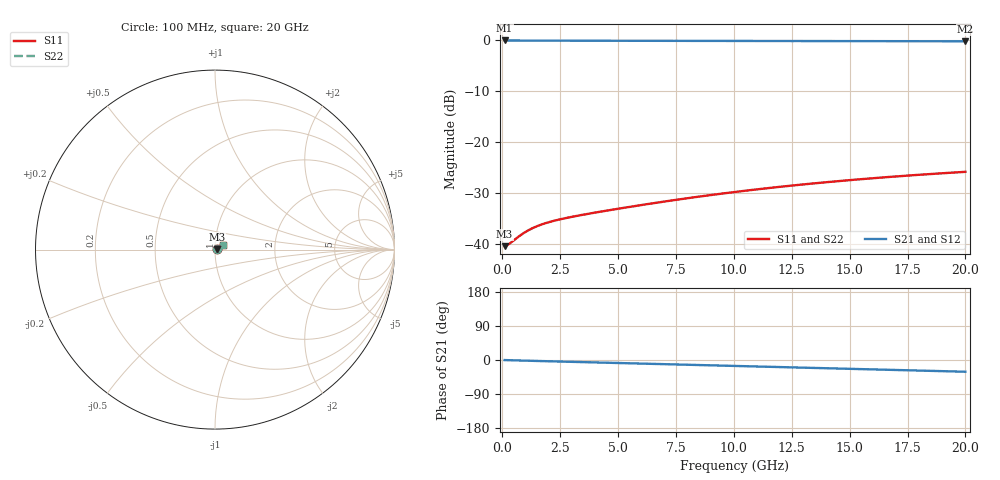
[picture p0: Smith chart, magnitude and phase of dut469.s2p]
! Touchstone file exported from HFSS 2026.1.0
!  File:  C:/ffzhzh/LocalFiles/Ansys_Project_Files/temp_train_TMRDL_469_1783006174_55676.aedt
!  Generated:  11:30:49 PM Jul  2, 2026
!  Design:  TMRDL
!  Project:  temp_train_TMRDL_469_1783006174_55676
! Variables:
!  h_bsmrdl = 2um
!  h_ox = 20um
!  h_rdl = 5um
!  h_sub = 80um
!  h_tmrdl = 2um
!  h_tsv = 80um
!  h_via = 3um
!  l_bsmrdl = 300um
!  l_sub = 959.4um
!  l_tmrdl = 559.4um
!  m_sub = 200um
!  pitch = 12.91um
!  r_tsv = 6um
!  s_tmrdl = 10um
!  w_bsmrdl = 18um
!  w_sub = 500um
!  w_tmrdl = 10.48um
!  x_tsv_center1 = 564.64um
!  x_tsv_center2 = 882.64um
!  x_tsv_center3 = 1452.52um
!  x_tsv_center4 = 1770.52um
!  x_tsv_center5 = 2340.4um
!  x_tsv_center6 = 2658.4um
# GHz S MA R 50.000000
! Terminal data exported
! Port[1] = TM_RDL1_1_T1
! Port[2] = TM_RDL1_1_T2
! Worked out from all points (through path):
!   200 points, 100 MHz to 20 GHz, reference 50 ohm
!   highest |S21| = -0.08 dB at 100 MHz (marker M1); lowest = -0.2 dB at 20 GHz (marker M2)
!   group delay of S21, straight-line fit = 4.28 ps
!   lowest |S11| = -40.4 dB at 100 MHz (marker M3), VSWR 1.02, Z = 51 + j0.0751 ohm
!   |S11| at or under -10 dB: start of sweep to end of sweep
!   |S22| runs from -40.4 to -25.9 dB; largest |S21 - S12| = 5.4e-15
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0.1  0.009518 4.4  0.9905 -0.2  0.9905 -0.2  0.009518 4.4
! Gamma 0 0 0 0
! Port Impedance 50 0 50 0
0.2  0.009724 8.6  0.9904 -0.4  0.9904 -0.4  0.009723 8.6
0.3  0.01004 12.2  0.9902 -0.6  0.9902 -0.6  0.01004 12.2
0.7  0.01179 21.3  0.9891 -1.3  0.9891 -1.3  0.0118 21.3
0.9  0.01269 23.5  0.9884 -1.6  0.9884 -1.6  0.0127 23.5
1  0.01312 24.3  0.9881 -1.7  0.9881 -1.7  0.01313 24.3
1.2  0.01391 25.4  0.9875 -2.1  0.9875 -2.1  0.01392 25.4
1.5  0.01495 26.5  0.9868 -2.5  0.9868 -2.5  0.01495 26.4
1.9  0.01609 27.4  0.986 -3.2  0.986 -3.2  0.01609 27.4
2.3  0.01704 28.3  0.9855 -3.8  0.9855 -3.8  0.01703 28.2
2.8  0.01807 29.3  0.9849 -4.5  0.9849 -4.5  0.01807 29.3
3.5  0.01939 30.9  0.9843 -5.6  0.9843 -5.6  0.01939 30.9
5  0.02216 34.0  0.9834 -7.9  0.9834 -7.9  0.02216 34.0
6.8  0.02567 36.5  0.9823 -10.7  0.9823 -10.7  0.02567 36.5
8.5  0.02915 37.6  0.9812 -13.3  0.9812 -13.3  0.02915 37.6
10.1  0.03247 37.7  0.9802 -15.8  0.9802 -15.8  0.03247 37.7
11.7  0.03577 37.2  0.979 -18.3  0.979 -18.3  0.03577 37.2
13.4  0.03918 36.0  0.9776 -20.9  0.9776 -20.9  0.03918 36.0
15  0.04228 34.6  0.9763 -23.3  0.9763 -23.3  0.04228 34.6
16.7  0.04542 32.7  0.9749 -25.9  0.9749 -25.9  0.04541 32.7
18.3  0.04821 30.8  0.9735 -28.4  0.9735 -28.4  0.0482 30.8
20  0.05099 28.7  0.9721 -31.0  0.9721 -31.0  0.05098 28.7
